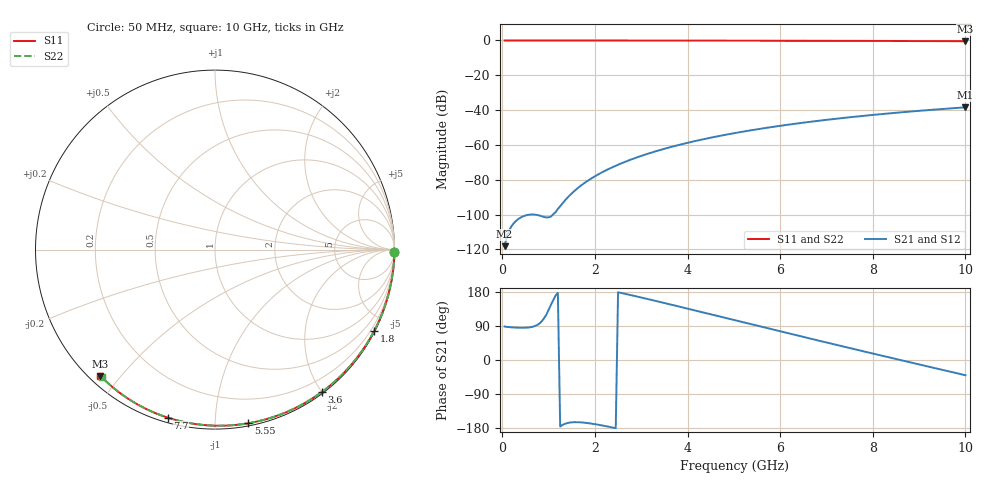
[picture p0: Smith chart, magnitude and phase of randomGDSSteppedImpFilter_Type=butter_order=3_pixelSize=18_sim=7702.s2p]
! freq	dB(S11)	phase(S11)	dB(S12)	phase(S12)
!  dB(S21)	phase(S21)	dB(S22)	phase(S22)
!S-par simulation data
#  GHz  S  DB  R 50
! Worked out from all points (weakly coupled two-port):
!   200 points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, 50 MHz to 10 GHz, reference 50 ohm
!   highest |S21| = -38.40 dB at 10 GHz (marker M1); lowest = -118.1 dB at 50 MHz (marker M2)
!   lowest |S11| = -0.4 dB at 10 GHz (marker M3), VSWR 38.87, Z = 1.54 - j22.1 ohm
!   |S11| at or under -10 dB: nowhere
!   |S22| runs from -0.4 to 0.0 dB; largest |S21 - S12| = 0
!   S11 on the Smith chart (normalised r, x): 50 MHz: open; 1.8 GHz: 0.04, -4.15; 3.6 GHz: 0.02, -2.01; 5.55 GHz: 0.02, -1.21; 7.7 GHz: 0.02, -0.76; 10 GHz: 0.03, -0.44
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0.05  -0.00 -0.8  -118.11 88.5  -118.11 88.5  -0.00 -0.8
0.9  -0.02 -13.7  -101.35 110.0  -101.35 110.0  -0.02 -13.6
1.75  -0.03 -26.4  -82.30 -165.1  -82.30 -165.1  -0.03 -26.2
1.8  -0.03 -27.1  -81.36 -165.8  -81.36 -165.8  -0.03 -27.0
1.85  -0.04 -27.8  -80.46 -166.5  -80.46 -166.5  -0.04 -27.7
1.9  -0.04 -28.6  -79.60 -167.4  -79.60 -167.4  -0.04 -28.4
2.05  -0.04 -30.8  -77.22 -170.3  -77.22 -170.3  -0.04 -30.6
2.25  -0.04 -33.7  -74.41 -174.9  -74.41 -174.9  -0.04 -33.5
2.45  -0.05 -36.6  -71.93 -179.9  -71.93 -179.9  -0.05 -36.4
2.65  -0.05 -39.5  -69.70 174.7  -69.70 174.7  -0.05 -39.3
3  -0.06 -44.5  -66.29 164.9  -66.29 164.9  -0.06 -44.3
3.4  -0.07 -50.2  -62.95 153.3  -62.95 153.3  -0.07 -49.9
3.6  -0.07 -53.0  -61.46 147.5  -61.46 147.5  -0.07 -52.7
4.3  -0.09 -62.6  -56.95 126.6  -56.95 126.6  -0.09 -62.3
5.05  -0.11 -72.6  -53.03 104.1  -53.03 104.1  -0.11 -72.3
5.55  -0.13 -79.1  -50.80 89.2  -50.80 89.2  -0.13 -78.7
6.1  -0.15 -86.1  -48.63 72.8  -48.63 72.8  -0.15 -85.7
6.7  -0.18 -93.6  -46.53 55.0  -46.53 55.0  -0.18 -93.1
7.7  -0.24 -105.7  -43.55 25.8  -43.55 25.8  -0.24 -105.1
8.35  -0.29 -113.3  -41.88 7.0  -41.88 7.0  -0.29 -112.7
9.15  -0.36 -122.5  -40.08 -15.9  -40.08 -15.9  -0.36 -121.9
10  -0.45 -132.2  -38.40 -40.2  -38.40 -40.2  -0.44 -131.5
